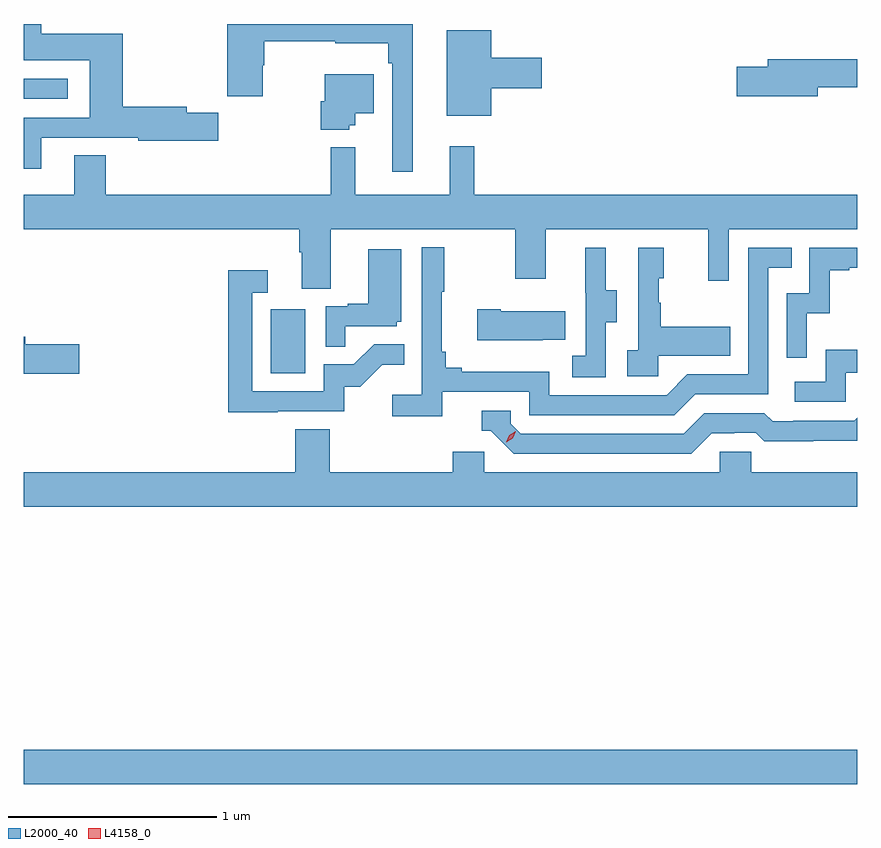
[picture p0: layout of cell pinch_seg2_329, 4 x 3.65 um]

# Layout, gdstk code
import gdstk
lib = gdstk.Library(unit=1e-6, precision=1e-09)
def R(c, l, rs):  # rectangles x0, y0, x1, y1
    for r in rs: c.add(gdstk.rectangle(r[:2], r[2:], *l))
def P(c, l, *ps):  # polygons
    for p in ps: c.add(gdstk.Polygon(p, *l))
L2000_40 = (2000, 40)
L4158_0 = (4158, 0)

pinch_seg2_329 = lib.new_cell('pinch_seg2_329')
R(pinch_seg2_329, L2000_40, [(993.082,635.648,997.082,635.812), (994.268,637.62,994.432,637.927), (993.082,638.937,993.292,639.033)])
P(pinch_seg2_329, L2000_40, [(994.948,639.296),(994.058,639.296),(994.058,638.949),(994.228,638.949),(994.228,639.099),(994.236,639.099),(994.236,639.214),(994.577,639.214),(994.577,639.203),(994.831,639.203),(994.831,639.107),(994.851,639.107),(994.851,638.586),(994.948,638.586)],
  [(993.166,638.751),(993.63,638.751),(993.63,638.735),(994.015,638.735),(994.015,638.87),(993.865,638.87),(993.865,638.9),(993.557,638.9),(993.557,639.25),(993.166,639.25),(993.166,639.296),(993.082,639.296),(993.082,639.122),(993.398,639.122),(993.398,638.847),(993.082,638.847),(993.082,638.601),(993.166,638.601)],
  [(995.326,638.987),(995.569,638.987),(995.569,639.134),(995.326,639.134),(995.326,639.265),(995.111,639.265),(995.111,638.855),(995.326,638.855)],
  [(996.892,638.992),(997.082,638.992),(997.082,639.128),(996.653,639.128),(996.653,639.092),(996.504,639.092),(996.504,638.95),(996.892,638.95)],
  [(994.644,638.811),(994.672,638.811),(994.672,638.867),(994.762,638.867),(994.762,639.055),(994.526,639.055),(994.526,638.925),(994.507,638.925),(994.507,638.789),(994.644,638.789)],
  [(994.555,638.312),(995.44,638.312),(995.44,638.073),(995.587,638.073),(995.587,638.312),(996.368,638.312),(996.368,638.064),(996.465,638.064),(996.465,638.312),(997.082,638.312),(997.082,638.476),(995.243,638.476),(995.243,638.71),(995.126,638.71),(995.126,638.476),(994.673,638.476),(994.673,638.704),(994.555,638.704),(994.555,638.476),(993.476,638.476),(993.476,638.666),(993.323,638.666),(993.323,638.476),(993.082,638.476),(993.082,638.312),(994.403,638.312),(994.403,638.2),(994.415,638.2),(994.415,638.026),(994.555,638.026)],
  [(995.09,637.53),(995.508,637.53),(995.508,637.419),(996.205,637.419),(996.304,637.518),(996.654,637.518),(996.654,638.127),(996.767,638.127),(996.767,638.223),(996.558,638.223),(996.558,637.614),(996.267,637.614),(996.168,637.515),(995.604,637.515),(995.604,637.627),(995.185,637.627),(995.185,637.646),(995.108,637.646),(995.108,637.723),(995.089,637.723),(995.089,638.011),(995.101,638.011),(995.101,638.224),(994.992,638.224),(994.992,637.516),(994.851,637.516),(994.851,637.414),(995.09,637.414)],
  [(996.84,637.907),(996.95,637.907),(996.95,638.115),(997.045,638.115),(997.045,638.127),(997.082,638.127),(997.082,638.223),(996.852,638.223),(996.852,638.004),(996.744,638.004),(996.744,637.695),(996.84,637.695)],
  [(996.126,637.703),(996.473,637.703),(996.473,637.843),(996.139,637.843),(996.139,637.958),(996.129,637.958),(996.129,638.076),(996.154,638.076),(996.154,638.221),(996.03,638.221),(996.03,637.73),(995.979,637.73),(995.979,637.605),(996.126,637.605)],
  [(995.874,637.864),(995.929,637.864),(995.929,638.019),(995.875,638.019),(995.875,638.221),(995.777,638.221),(995.777,638.007),(995.778,638.007),(995.778,637.703),(995.715,637.703),(995.715,637.6),(995.874,637.6)],
  [(994.625,637.845),(994.872,637.845),(994.872,637.866),(994.894,637.866),(994.894,638.215),(994.736,638.215),(994.736,637.954),(994.637,637.954),(994.637,637.941),(994.53,637.941),(994.53,637.747),(994.625,637.747)],
  [(994.301,637.437),(994.62,637.437),(994.62,637.554),(994.696,637.554),(994.803,637.661),(994.907,637.661),(994.907,637.76),(994.763,637.76),(994.665,637.662),(994.521,637.662),(994.521,637.533),(994.179,637.533),(994.179,638.007),(994.252,638.007),(994.252,638.113),(994.063,638.113),(994.063,637.432),(994.301,637.432)],
  [(995.573,637.781),(995.681,637.781),(995.681,637.918),(995.371,637.918),(995.371,637.926),(995.259,637.926),(995.259,637.778),(995.573,637.778)],
  [(993.349,637.76),(993.088,637.76),(993.088,637.796),(993.082,637.796),(993.082,637.618),(993.349,637.618)],
  [(997.026,637.623),(997.082,637.623),(997.082,637.732),(996.93,637.732),(996.93,637.578),(996.783,637.578),(996.783,637.482),(997.026,637.482)],
  [(996.385,637.332),(996.492,637.332),(996.492,637.335),(996.595,637.335),(996.637,637.293),(996.87,637.293),(996.87,637.295),(997.082,637.295),(997.082,637.406),(997.068,637.392),(996.775,637.392),(996.775,637.389),(996.676,637.389),(996.637,637.428),(996.348,637.428),(996.249,637.329),(995.466,637.329),(995.418,637.377),(995.418,637.44),(995.279,637.44),(995.279,637.344),(995.322,637.344),(995.433,637.233),(996.286,637.233)],
  [(997.082,637.144),(996.573,637.144),(996.573,637.242),(996.423,637.242),(996.423,637.144),(995.292,637.144),(995.292,637.242),(995.141,637.242),(995.141,637.144),(994.55,637.144),(994.55,637.352),(994.385,637.352),(994.385,637.144),(993.082,637.144),(993.082,636.98),(997.082,636.98)])
P(pinch_seg2_329, L4158_0, [(995.398,637.288),(995.398,637.289),(995.413,637.321),(995.444,637.341),(995.444,637.341),(995.444,637.341),(995.428,637.308),(995.398,637.288)])

lib.write_gds('pinch_seg2_329.gds')
